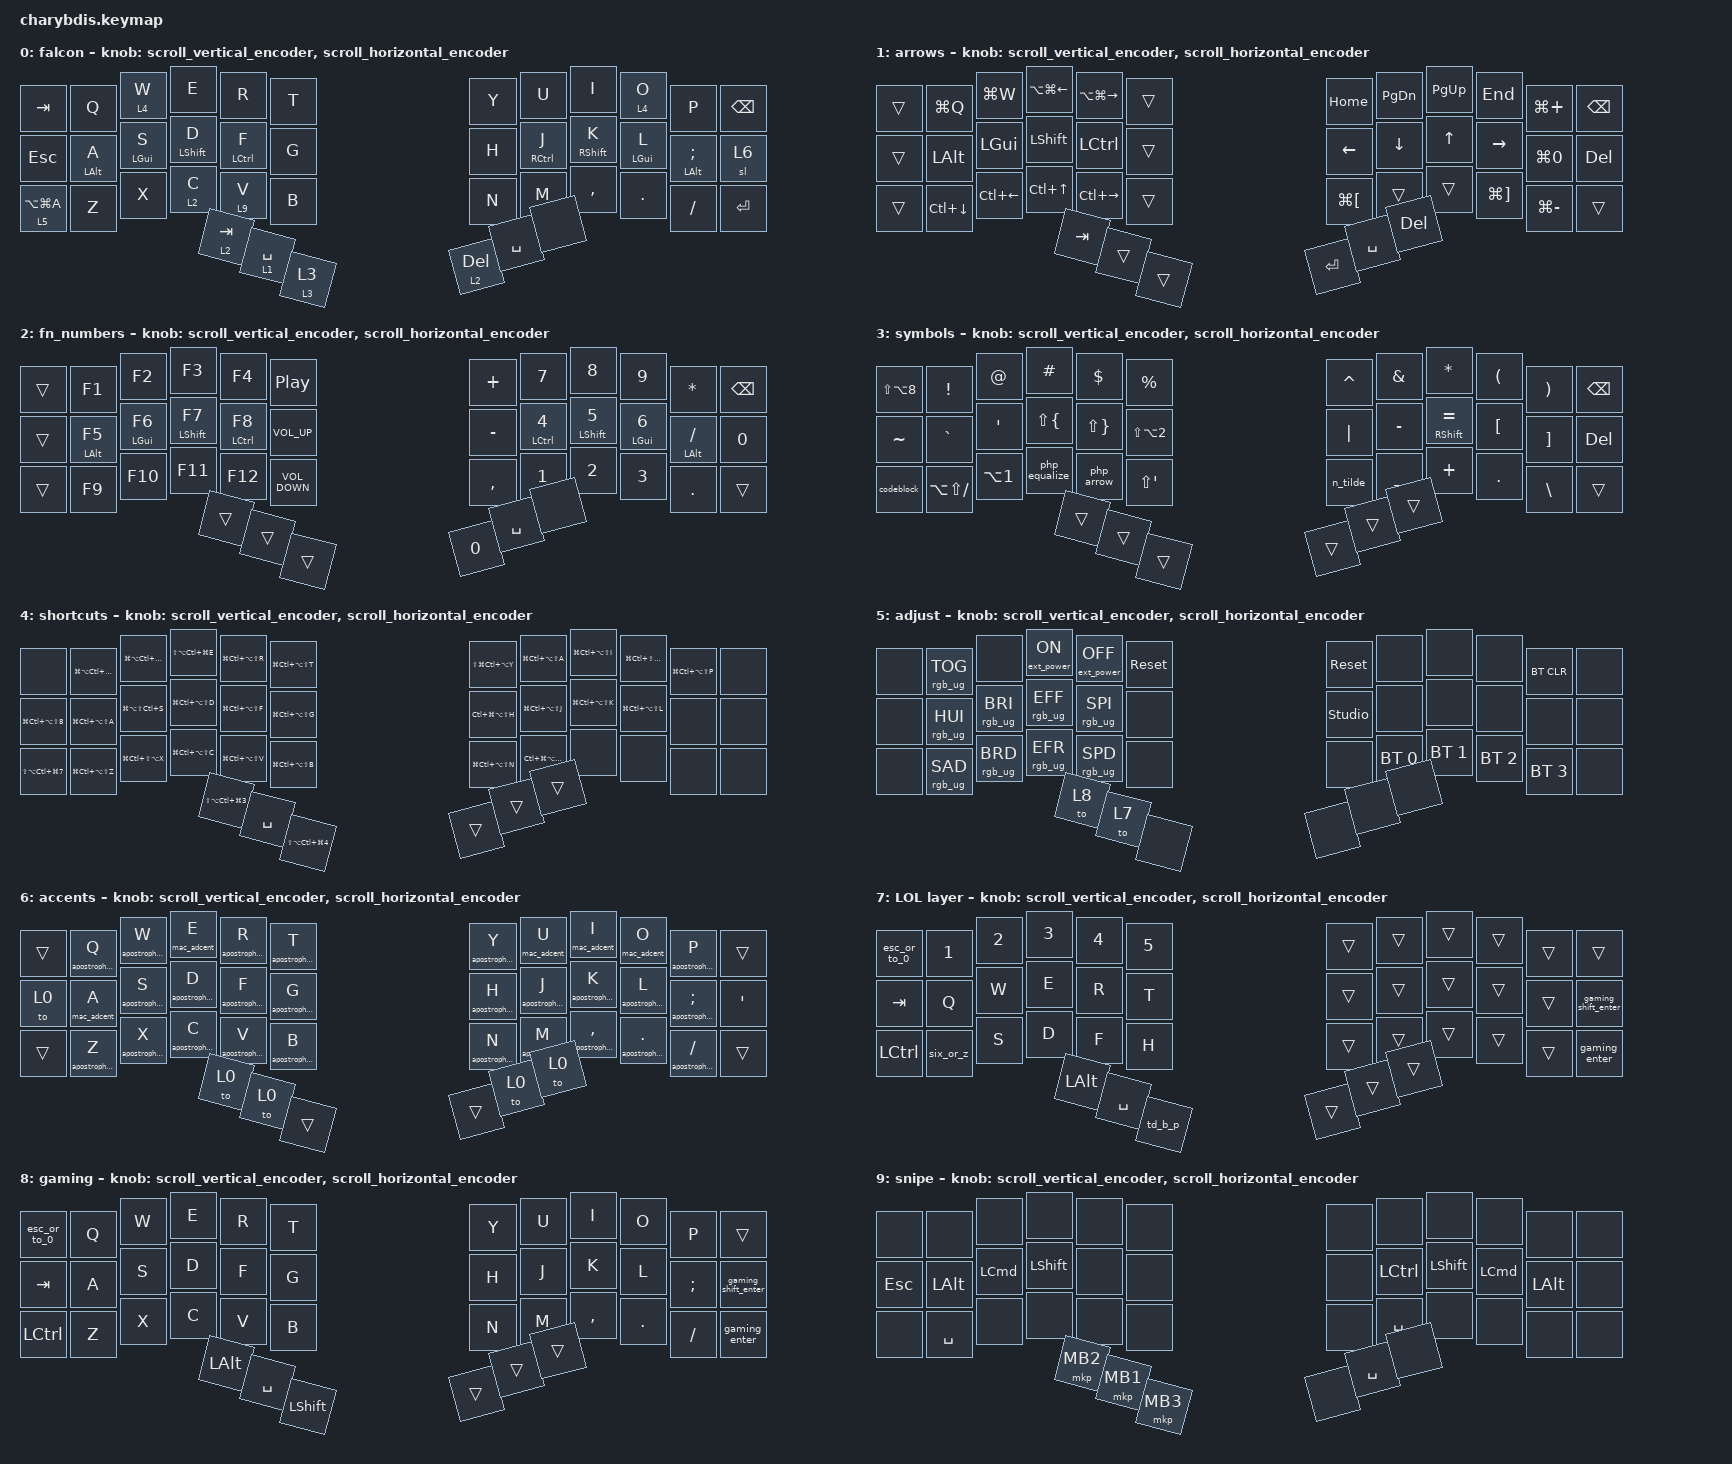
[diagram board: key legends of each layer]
#include <dt-bindings/zmk/mouse.h>
#include <input/processors.dtsi>
#include <zephyr/dt-bindings/input/input-event-codes.h>
#include <behaviors.dtsi>
#include <dt-bindings/zmk/bt.h>
#include <dt-bindings/zmk/ext_power.h>
#include <dt-bindings/zmk/keys.h>
#include <dt-bindings/zmk/pointing.h>
#include <dt-bindings/zmk/rgb.h>

// Trackball scroll settings

#define ZMK_POINTING_DEFAULT_MOVE_VAL 1000
#define ZMK_POINTING_DEFAULT_SCRL_VAL 12

// Layer-tap settings (from Corne)

&lt {
    tapping-term-ms = <300>;
    flavor = "tap-preferred";
    quick-tap-ms = <200>;
    require-prior-idle-ms = <100>;
    hold-trigger-on-release;
};

// Trackball input processors

&mmv_input_listener { input-processors = <&zip_xy_scaler 2 1>; };

&msc_input_listener { input-processors = <&zip_scroll_scaler 2 1>; };

&msc {
    acceleration-exponent = <0>;
    time-to-max-speed-ms = <100>;
    delay-ms = <0>;
};

&mmv {
    time-to-max-speed-ms = <300>;
    acceleration-exponent = <1>;
    trigger-period-ms = <16>;
};

/ {
    combos {
        compatible = "zmk,combos";

        combo_bloq_may {
            bindings = <&caps_word>;
            key-positions = <15 20>;
            layers = <0>;
        };
    };

    macros {
        php_arrow: php_arrow {
            compatible = "zmk,behavior-macro";
            #binding-cells = <0>;
            bindings = <&kp MINUS &kp GT>;
            label = "PHP_ARROW";
        };

        php_equalize: php_equalize {
            compatible = "zmk,behavior-macro";
            #binding-cells = <0>;
            bindings = <&kp EQUAL &kp GT>;
            label = "PHP_EQUALIZE";
        };

        n_tilde: n_tilde {
            compatible = "zmk,behavior-macro";
            #binding-cells = <0>;
            bindings = <&kp LA(N) &kp N>;
            label = "N_TILDE";
        };

        mac_adcent: mac_adcent {
            compatible = "zmk,behavior-macro-one-param";
            #binding-cells = <1>;
            bindings = <&kp LA(E) &macro_param_1to1 &kp MACRO_PLACEHOLDER>;
            label = "MAC_ADCENT";
        };

        gaming_enter: gaming_enter {
            compatible = "zmk,behavior-macro";
            #binding-cells = <0>;
            bindings = <&to 0 &kp ENTER>;
            label = "GAMING_ENTER";
        };

        gaming_shift_enter: gaming_shift_enter {
            compatible = "zmk,behavior-macro";
            #binding-cells = <0>;
            bindings = <&to 0 &kp LS(ENTER)>;
            label = "GAMING_SHIFT_ENTER";
        };

        apostrophe_and_key: apostrophe_and_key {
            compatible = "zmk,behavior-macro-one-param";
            #binding-cells = <1>;
            bindings = <&kp APOSTROPHE &macro_param_1to1 &kp MACRO_PLACEHOLDER>;
            label = "APOSTROPHE_AND_KEY";
        };

        codeblock: codeblock {
            compatible = "zmk,behavior-macro";
            #binding-cells = <0>;
            bindings = <&kp GRAVE &kp GRAVE &kp GRAVE &kp GRAVE &kp GRAVE &kp GRAVE &kp LEFT_ARROW &kp LEFT &kp LEFT>;
            label = "CODEBLOCK";
        };
    };

    behaviors {
        hm: home_row {
            compatible = "zmk,behavior-hold-tap";
            label = "HOME_ROW";
            bindings = <&kp>, <&kp>;

            #binding-cells = <2>;
            tapping-term-ms = <200>;
            flavor = "tap-preferred";
            hold-trigger-on-release;
            quick-tap-ms = <200>;
            require-prior-idle-ms = <50>;
        };

        key_lt: key_lt {
            compatible = "zmk,behavior-hold-tap";
            label = "KEY_LT";
            bindings = <&mo>, <&kp>;

            #binding-cells = <2>;
            tapping-term-ms = <200>;
            flavor = "balanced";
            require-prior-idle-ms = <60>;
            hold-trigger-on-release;
        };

        hold_lt: hold_lt {
            compatible = "zmk,behavior-hold-tap";
            label = "HOLD_LT";
            bindings = <&mo>, <&kp>;

            #binding-cells = <2>;
            tapping-term-ms = <200>;
            quick-tap-ms = <200>;
        };

        td_b_p: td_b_p {
            compatible = "zmk,behavior-tap-dance";
            label = "TD_B_P";
            #binding-cells = <0>;
            bindings = <&kp B>, <&kp P>;

            tapping-term-ms = <300>;
        };

        esc_or_to_0: esc_or_to_0 {
            compatible = "zmk,behavior-tap-dance";
            label = "ESC_OR_TO_0";
            #binding-cells = <0>;
            bindings = <&kp ESCAPE>, <&to 0>;
        };

        six_or_z: six_or_z {
            compatible = "zmk,behavior-tap-dance";
            label = "SIX_OR_Z";
            #binding-cells = <0>;
            bindings = <&kp NUMBER_6>, <&kp Z>;
        };

        c_scroll_layer: c_scroll_layer {
            compatible = "zmk,behavior-hold-tap";
            label = "C_SCROLL_LAYER";
            #binding-cells = <2>;
            bindings = <&mo>, <&kp>;

            tapping-term-ms = <200>;
            flavor = "tap-preferred";
            quick-tap-ms = <200>;
        };

        v_snipe_layer: v_snipe_layer {
            compatible = "zmk,behavior-hold-tap";
            label = "V_SNIPE_LAYER";
            #binding-cells = <2>;
            bindings = <&mo>, <&kp>;

            tapping-term-ms = <200>;
            flavor = "tap-preferred";
            quick-tap-ms = <200>;
        };

        shift_hmr: shift_hmr {
            compatible = "zmk,behavior-hold-tap";
            label = "SHIFT_HMR";
            bindings = <&kp>, <&kp>;

            #binding-cells = <2>;
            tapping-term-ms = <175>;
            flavor = "tap-preferred";
            quick-tap-ms = <165>;
            hold-trigger-on-release;
        };

        sl_mo_lt: sl_mo_lt {
            compatible = "zmk,behavior-hold-tap";
            label = "SL_MO_LT";
            bindings = <&mo>, <&sl>;

            #binding-cells = <2>;
            tapping-term-ms = <200>;
        };
    };

    // Encoder behaviors

    scroll_vertical_encoder: scroll_vertical_encoder {
        compatible = "zmk,behavior-sensor-rotate";
        #sensor-binding-cells = <0>;
        bindings = <&msc SCRL_DOWN>, <&msc SCRL_UP>;

        tap-ms = <100>;
    };

    scroll_horizontal_encoder: scroll_horizontal_encoder {
        compatible = "zmk,behavior-sensor-rotate";
        #sensor-binding-cells = <0>;
        bindings = <&msc SCRL_LEFT>, <&msc SCRL_RIGHT>;

        tap-ms = <100>;
    };

    keymap {
        compatible = "zmk,keymap";

        default_layer {
            label = "falcon";
            bindings = <
&kp TAB          &kp Q       &lt 4 W     &kp E                    &kp R               &kp T            &kp Y           &kp U        &kp I                &lt 4 O     &kp P               &kp BACKSPACE
&kp ESCAPE       &hm LALT A  &hm LGUI S  &shift_hmr LEFT_SHIFT D  &hm LCTRL F         &kp G            &kp H           &hm RCTRL J  &shift_hmr RSHIFT K  &hm LGUI L  &hm LALT SEMICOLON  &sl 6
&lt 5 LA(LG(A))  &kp Z       &kp X       &c_scroll_layer 2 C      &v_snipe_layer 9 V  &kp B            &kp N           &kp M        &kp COMMA            &kp DOT     &kp FSLH            &kp ENTER
                                         &hold_lt 2 TAB           &key_lt 1 SPACE     &sl_mo_lt 3 3    &hold_lt 2 DEL  &kp SPACE    &none
            >;

            sensor-bindings =
                <&scroll_vertical_encoder>,
                <&scroll_horizontal_encoder>;
        };

        arrows {
            label = "arrows";
            bindings = <
&trans  &kp LG(Q)     &kp LG(W)     &kp LA(LG(LEFT))  &kp LA(LG(RIGHT))  &trans    &kp HOME      &kp PG_DN  &kp PG_UP  &kp END       &kp LG(PLUS)   &kp BACKSPACE
&trans  &kp LALT      &kp LGUI      &kp LSHFT         &kp LCTRL          &trans    &kp LEFT      &kp DOWN   &kp UP     &kp RIGHT     &kp LG(N0)     &kp DELETE
&trans  &kp LC(DOWN)  &kp LC(LEFT)  &kp LC(UP)        &kp LC(RIGHT)      &trans    &kp LG(LBKT)  &trans     &trans     &kp LG(RBKT)  &kp LG(MINUS)  &trans
                                    &kp TAB           &trans             &trans    &kp ENTER     &kp SPACE  &kp DEL
            >;

            sensor-bindings =
                <&scroll_vertical_encoder>,
                <&scroll_horizontal_encoder>;
        };

        numbers_and_functions {
            label = "fn_numbers";
            bindings = <
&trans  &kp F1           &kp F2           &kp F3             &kp F4        &kp C_PLAY_PAUSE     &kp PLUS   &kp N7               &kp N8             &kp N9           &kp ASTERISK        &kp BACKSPACE
&trans  &hm LEFT_ALT F5  &hm LEFT_GUI F6  &hm LEFT_SHIFT F7  &hm LCTRL F8  &kp C_VOLUME_UP      &kp MINUS  &hm LEFT_CONTROL N4  &hm LEFT_SHIFT N5  &hm LEFT_GUI N6  &hm LEFT_ALT SLASH  &kp N0
&trans  &kp F9           &kp F10          &kp F11            &kp F12       &kp C_VOLUME_DOWN    &kp COMMA  &kp N1               &kp N2             &kp N3           &kp DOT             &trans
                                          &trans             &trans        &trans               &kp N0     &kp SPACE            &none
            >;

            sensor-bindings =
                <&scroll_vertical_encoder>,
                <&scroll_horizontal_encoder>;
        };

        symbols {
            label = "symbols";
            bindings = <
&kp LS(LA(N8))  &kp EXCLAMATION    &kp AT_SIGN  &kp HASH       &kp DOLLAR    &kp PERCENT             &kp CARET  &kp AMPERSAND  &kp ASTERISK           &kp LEFT_PARENTHESIS  &kp RIGHT_PARENTHESIS  &kp BACKSPACE
&kp TILDE       &kp GRAVE          &kp SQT      &kp LS(LBRC)   &kp LS(RBRC)  &kp LS(LA(NUMBER_2))    &kp PIPE   &kp MINUS      &hm RIGHT_SHIFT EQUAL  &kp LBKT              &kp RBKT               &kp DELETE
&codeblock      &kp LA(LS(SLASH))  &kp LA(N1)   &php_equalize  &php_arrow    &kp LS(SQT)             &n_tilde   &kp UNDER      &kp PLUS               &kp DOT               &kp BSLH               &trans
                                                &trans         &trans        &trans                  &trans     &trans         &trans
            >;

            sensor-bindings =
                <&scroll_vertical_encoder>,
                <&scroll_horizontal_encoder>;
        };

        shortcuts {
            label = "shortcuts";
            bindings = <
&none                   &kp LG(LA(LC(LS(Q))))  &kp LG(LA(LC(LS(W))))  &kp LS(LA(LC(LG(E))))         &kp LG(LC(LA(LS(R))))  &kp LG(LC(LA(LS(T))))           &kp LS(LG(LC(LA(Y))))  &kp LG(LC(LA(LS(A))))  &kp LG(LC(LA(LS(I))))  &kp LG(LC(LS(LA(O))))  &kp LG(LC(LA(LS(P))))  &none
&kp LG(LC(LA(LS(N8))))  &kp LG(LC(LA(LS(A))))  &kp LG(LA(LS(LC(S))))  &kp LG(LC(LA(LS(D))))         &kp LG(LC(LA(LS(F))))  &kp LG(LC(LA(LS(G))))           &kp LC(LG(LA(LS(H))))  &kp LG(LC(LA(LS(J))))  &kp LG(LC(LA(LS(K))))  &kp LG(LC(LA(LS(L))))  &none                  &none
&kp LS(LA(LC(LG(N7))))  &kp LG(LC(LA(LS(Z))))  &kp LG(LC(LS(LA(X))))  &kp LG(LC(LA(LS(C))))         &kp LG(LC(LA(LS(V))))  &kp LG(LC(LA(LS(B))))           &kp LG(LC(LA(LS(N))))  &kp LC(LG(LA(LS(M))))  &none                  &none                  &none                  &none
                                                                      &kp LS(LA(LC(LG(NUMBER_3))))  &kp SPACE              &kp LS(LA(LC(LG(NUMBER_4))))    &trans                 &trans                 &trans
            >;

            sensor-bindings =
                <&scroll_vertical_encoder>,
                <&scroll_horizontal_encoder>;
        };

        adjust {
            label = "adjust";
            bindings = <
&none  &rgb_ug RGB_TOG  &none            &ext_power EP_ON  &ext_power EP_OFF  &sys_reset    &sys_reset      &none         &none         &none         &bt BT_CLR    &none
&none  &rgb_ug RGB_HUI  &rgb_ug RGB_BRI  &rgb_ug RGB_EFF   &rgb_ug RGB_SPI    &none         &studio_unlock  &none         &none         &none         &none         &none
&none  &rgb_ug RGB_SAD  &rgb_ug RGB_BRD  &rgb_ug RGB_EFR   &rgb_ug RGB_SPD    &none         &none           &bt BT_SEL 0  &bt BT_SEL 1  &bt BT_SEL 2  &bt BT_SEL 3  &none
                                         &to 8             &to 7              &none         &none           &none         &none
            >;

            sensor-bindings =
                <&scroll_vertical_encoder>,
                <&scroll_horizontal_encoder>;
        };

        accents {
            label = "accents";
            bindings = <
&trans  &apostrophe_and_key Q  &apostrophe_and_key W  &mac_adcent E          &apostrophe_and_key R  &apostrophe_and_key T    &apostrophe_and_key Y  &mac_adcent U          &mac_adcent I          &mac_adcent O          &apostrophe_and_key P  &trans
&to 0   &mac_adcent A          &apostrophe_and_key S  &apostrophe_and_key D  &apostrophe_and_key F  &apostrophe_and_key G    &apostrophe_and_key H  &apostrophe_and_key J  &apostrophe_and_key K  &apostrophe_and_key L  &apostrophe_and_key SEMICOLON  &kp APOSTROPHE
&trans  &apostrophe_and_key Z  &apostrophe_and_key X  &apostrophe_and_key C  &apostrophe_and_key V  &apostrophe_and_key B    &apostrophe_and_key N  &apostrophe_and_key M  &apostrophe_and_key COMMA  &apostrophe_and_key DOT  &apostrophe_and_key FSLH  &trans
                                                      &to 0                  &to 0                  &trans                   &trans                 &to 0                  &to 0
            >;

            sensor-bindings =
                <&scroll_vertical_encoder>,
                <&scroll_horizontal_encoder>;
        };

        lol_layer {
            label = "LOL layer";
            bindings = <
&esc_or_to_0      &kp N1     &kp N2  &kp N3        &kp N4     &kp N5     &trans  &trans  &trans  &trans  &trans  &trans
&kp TAB           &kp Q      &kp W   &kp E         &kp R      &kp T      &trans  &trans  &trans  &trans  &trans  &gaming_shift_enter
&kp LEFT_CONTROL  &six_or_z  &kp S   &kp D         &kp F      &kp H      &trans  &trans  &trans  &trans  &trans  &gaming_enter
                                     &kp LEFT_ALT  &kp SPACE  &td_b_p    &trans  &trans  &trans
            >;

            sensor-bindings =
                <&scroll_vertical_encoder>,
                <&scroll_horizontal_encoder>;
        };

        gaming {
            label = "gaming";
            bindings = <
&esc_or_to_0      &kp Q  &kp W  &kp E         &kp R      &kp T             &kp Y   &kp U   &kp I      &kp O    &kp P     &trans
&kp TAB           &kp A  &kp S  &kp D         &kp F      &kp G             &kp H   &kp J   &kp K      &kp L    &kp SEMI  &gaming_shift_enter
&kp LEFT_CONTROL  &kp Z  &kp X  &kp C         &kp V      &kp B             &kp N   &kp M   &kp COMMA  &kp DOT  &kp FSLH  &gaming_enter
                                &kp LEFT_ALT  &kp SPACE  &kp LEFT_SHIFT    &trans  &trans  &trans
            >;

            sensor-bindings =
                <&scroll_vertical_encoder>,
                <&scroll_horizontal_encoder>;
        };

        snipe_layer {
            label = "snipe";
            bindings = <
&none       &none         &none             &none           &none     &none       &none  &none      &none           &none             &none         &none
&kp ESCAPE  &kp LEFT_ALT  &kp LEFT_COMMAND  &kp LEFT_SHIFT  &none     &none       &none  &kp LCTRL  &kp LEFT_SHIFT  &kp LEFT_COMMAND  &kp LEFT_ALT  &none
&none       &kp SPACE     &none             &none           &none     &none       &none  &kp SPACE  &none           &none             &none         &none
                                            &mkp MB2        &mkp MB1  &mkp MB3    &none  &kp SPACE  &none
            >;

            sensor-bindings =
                <&scroll_vertical_encoder>,
                <&scroll_horizontal_encoder>;
        };
    };
};
